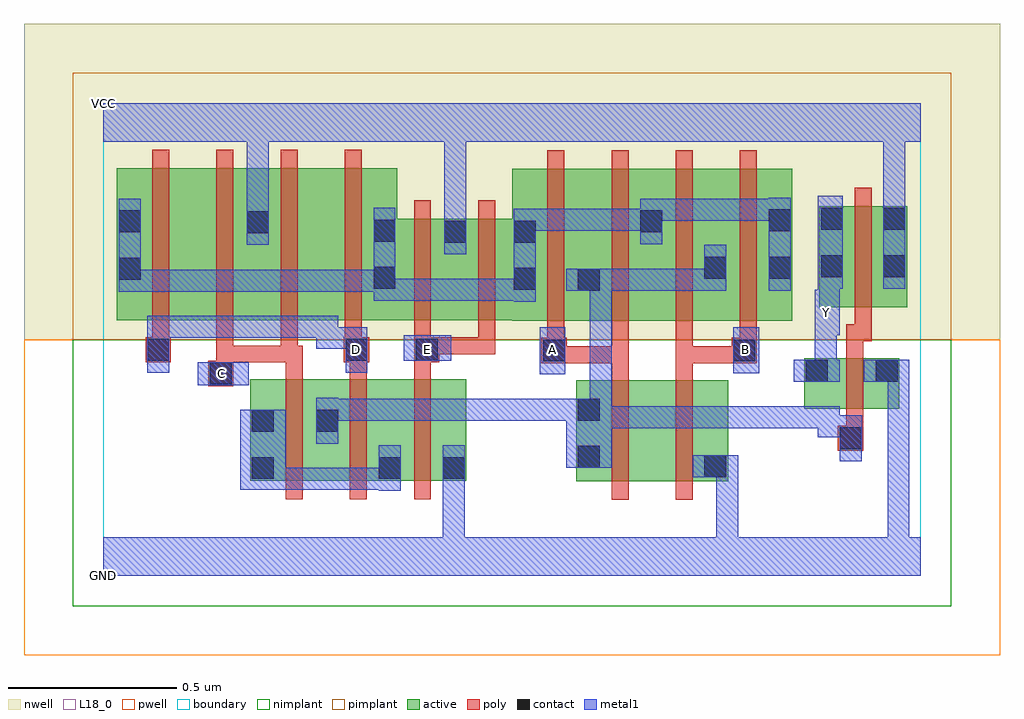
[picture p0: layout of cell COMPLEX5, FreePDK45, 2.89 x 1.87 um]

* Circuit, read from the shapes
.subckt COMPLEX5 A B C D E GND VCC Y
M1 n1 C n2 VSUBS nfet w=0.3u l=0.05u
M2 n2 D n1 VSUBS nfet w=0.3u l=0.05u
M3 GND E n2 VSUBS nfet w=0.3u l=0.05u
M4 n3 A n1 VSUBS nfet w=0.3u l=0.05u
M5 GND B n3 VSUBS nfet w=0.3u l=0.05u
M6 GND n1 Y VSUBS nfet w=0.15u l=0.05u
M7 n4 D n5 n6 pfet w=0.45u l=0.05u
M8 VCC C n4 n6 pfet w=0.45u l=0.05u
M9 n7 C VCC n6 pfet w=0.45u l=0.05u
M10 n5 D n7 n6 pfet w=0.45u l=0.05u
M11 VCC E n5 n6 pfet w=0.3u l=0.05u m=2
M12 n1 A n5 n6 pfet w=0.45u l=0.05u m=2
M13 n1 B n5 n6 pfet w=0.45u l=0.05u m=2
M14 VCC n1 Y n6 pfet w=0.3u l=0.05u
.ends

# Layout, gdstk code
import gdstk
lib = gdstk.Library(unit=1e-6, precision=1e-09)
def R(c, l, rs):  # rectangles x0, y0, x1, y1
    for r in rs: c.add(gdstk.rectangle(r[:2], r[2:], *l))
def A(c, l, x, y, w, h, nx, ny, dx, dy):  # array of equal rectangles
    R(c, l, [(x+i*dx, y+j*dy, x+i*dx+w, y+j*dy+h) for i in range(nx) for j in range(ny)])
active = (1, 0)
pwell = (2, 0)
nwell = (3, 0)
nimplant = (4, 0)
pimplant = (5, 0)
poly = (9, 0)
contact = (10, 0)
metal1 = (11, 0)
L18_0 = (18, 0)
boundary = (235, 0)

complex5 = lib.new_cell('COMPLEX5')
R(complex5, active, [(1.4,0.28,1.625,0.58), (1.625,0.28,1.85,0.58), (0.435,0.282,0.51,0.582), (0.435,0.282,0.7,0.582), (0.625,0.282,0.885,0.582), (0.81,0.282,1.075,0.582), (0.81,0.282,0.885,0.392), (1,0.282,1.075,0.582), (1.775,0.287,1.85,0.58), (1.4,0.315,1.475,0.58), (0.625,0.345,0.7,0.497), (2.075,0.495,2.15,0.645), (2.075,0.495,2.357,0.645), (2.282,0.495,2.357,0.645), (1.21,0.755,1.475,1.205), (1.4,0.755,1.475,1.07), (1.4,0.755,1.66,1.205), (1.585,0.755,1.66,1.2), (1.585,0.755,1.85,1.205), (1.775,0.755,2.04,1.205), (1.775,0.755,1.85,1.07), (1.965,0.755,2.04,1.2), (0.04,0.757,0.265,1.207), (0.04,0.757,0.145,1.2), (0.265,0.757,0.495,1.207), (0.42,0.757,0.645,1.207), (0.42,0.757,0.495,1.207), (0.645,0.757,0.87,1.207), (0.795,0.757,1.08,1.057), (0.795,0.757,0.87,1.2), (1.005,0.757,1.08,1.057), (1.005,0.757,1.285,1.057), (2.12,0.795,2.195,1.095), (2.12,0.795,2.38,1.095), (2.305,0.795,2.38,1.095), (1.21,0.842,1.285,1.2)])
R(complex5, pwell, [(-0.235,-0.235,2.655,0.7)])
R(complex5, nwell, [(-0.235,0.7,2.655,1.635)])
R(complex5, nimplant, [(-0.09,-0.09,2.51,0.7)])
R(complex5, pimplant, [(-0.09,0.7,2.51,1.49)])
A(complex5, poly, 0.54, 0.227, 0.05, 0.41, 3, 1, 0.19, 0)
A(complex5, poly, 0.54, 0.587, 0.05, 0.095, 3, 1, 0.19, 0)
A(complex5, poly, 1.315, 0.7, 0.05, 0.56, 4, 1, 0.19, 0)
A(complex5, poly, 0.145, 0.702, 0.05, 0.56, 4, 1, 0.19, 0)
R(complex5, poly, [(1.505,0.225,1.555,0.635), (1.695,0.225,1.745,0.635), (2.175,0.37,2.25,0.445), (2.2,0.395,2.25,0.49), (2.2,0.44,2.25,0.7), (0.31,0.562,0.385,0.637), (1.505,0.585,1.555,0.68), (1.695,0.585,1.745,0.68), (0.335,0.587,0.385,0.682), (1.297,0.63,1.372,0.705), (1.322,0.63,1.555,0.68), (1.505,0.63,1.555,0.68), (1.505,0.63,1.555,0.68), (1.505,0.63,1.555,0.68), (1.505,0.63,1.555,0.75), (1.695,0.63,1.745,0.68), (1.695,0.63,1.91,0.68), (1.695,0.63,1.745,0.75), (1.86,0.63,1.935,0.705), (1.86,0.63,1.91,0.68), (1.86,0.63,1.91,0.68), (0.125,0.632,0.2,0.707), (0.335,0.632,0.385,0.682), (0.335,0.632,0.385,0.682), (0.335,0.632,0.385,0.682), (0.335,0.632,0.385,0.752), (0.335,0.632,0.575,0.682), (0.525,0.632,0.575,0.682), (0.525,0.632,0.575,0.682), (0.525,0.632,0.575,0.752), (0.525,0.632,0.59,0.682), (0.712,0.632,0.787,0.707), (0.92,0.632,0.995,0.707), (2.2,0.65,2.25,0.745), (1.315,0.655,1.365,0.75), (1.885,0.655,1.935,0.75), (0.145,0.657,0.195,0.752), (0.715,0.657,0.765,0.752), (0.92,0.657,0.97,0.752), (0.945,0.657,1.16,0.707), (1.11,0.657,1.16,0.752), (1.11,0.657,1.16,0.707), (1.11,0.657,1.16,0.707), (1.11,0.657,1.16,0.707), (2.2,0.695,2.275,0.745), (2.225,0.695,2.275,0.79), (0.92,0.702,0.97,1.112), (1.11,0.702,1.16,1.112), (2.225,0.74,2.275,1.15)])
R(complex5, contact, [(0.44,0.287,0.505,0.352), (0.815,0.287,0.88,0.352), (1.005,0.287,1.07,0.352), (1.78,0.292,1.845,0.357), (1.405,0.32,1.47,0.385), (2.18,0.375,2.245,0.44), (0.44,0.427,0.505,0.492), (0.63,0.427,0.695,0.492), (1.405,0.46,1.47,0.525), (0.315,0.567,0.38,0.632), (2.08,0.575,2.145,0.64), (2.287,0.575,2.352,0.64), (1.302,0.635,1.367,0.7), (1.865,0.635,1.93,0.7), (0.13,0.637,0.195,0.702), (0.717,0.637,0.782,0.702), (0.925,0.637,0.99,0.702), (1.405,0.845,1.47,0.91), (1.215,0.847,1.28,0.912), (0.8,0.85,0.865,0.915), (0.045,0.877,0.11,0.942), (1.78,0.88,1.845,0.945), (1.97,0.88,2.035,0.945), (2.125,0.885,2.19,0.95), (2.31,0.885,2.375,0.95), (1.01,0.987,1.075,1.052), (1.215,0.987,1.28,1.052), (0.8,0.99,0.865,1.055), (0.425,1.015,0.49,1.08), (0.045,1.017,0.11,1.082), (1.59,1.017,1.655,1.082), (1.97,1.02,2.035,1.085), (2.125,1.025,2.19,1.09), (2.31,1.025,2.375,1.09)])
R(complex5, metal1, [(0,0,2.42,0.115), (1.005,0.05,1.07,0.115), (1.005,0.05,1.07,0.115), (1.005,0.05,1.07,0.115), (1.005,0.05,1.07,0.115), (1.005,0.05,1.07,0.317), (1.815,0.05,1.88,0.115), (1.815,0.05,1.88,0.115), (1.815,0.05,1.88,0.115), (1.815,0.05,1.88,0.115), (1.815,0.05,1.88,0.357), (2.322,0.05,2.387,0.115), (2.322,0.05,2.387,0.115), (2.322,0.05,2.387,0.64), (0.815,0.252,0.88,0.387), (1.005,0.252,1.07,0.387), (0.405,0.255,0.54,0.492), (0.475,0.255,0.54,0.32), (0.475,0.255,0.54,0.32), (0.475,0.255,0.727,0.32), (0.662,0.255,0.727,0.32), (0.662,0.255,0.727,0.32), (0.662,0.255,0.727,0.32), (0.662,0.255,0.88,0.32), (1.745,0.292,1.88,0.357), (1.37,0.32,1.505,0.525), (2.18,0.34,2.245,0.475), (0.63,0.392,0.695,0.527), (2.115,0.41,2.18,0.475), (2.115,0.41,2.245,0.475), (2.115,0.41,2.18,0.502), (1.44,0.437,1.505,0.502), (1.44,0.437,1.505,0.502), (1.44,0.437,1.672,0.502), (1.607,0.437,1.672,0.502), (1.607,0.437,1.672,0.502), (1.607,0.437,1.672,0.502), (1.607,0.437,1.835,0.502), (1.77,0.437,1.835,0.502), (1.77,0.437,1.835,0.502), (1.77,0.437,1.835,0.502), (1.77,0.437,1.972,0.502), (1.907,0.437,1.972,0.502), (1.907,0.437,1.972,0.502), (1.907,0.437,1.972,0.502), (1.907,0.437,2.18,0.502), (2.115,0.437,2.18,0.502), (0.63,0.46,0.775,0.525), (0.71,0.46,0.775,0.525), (0.71,0.46,0.932,0.525), (0.867,0.46,0.932,0.525), (0.867,0.46,0.932,0.525), (0.867,0.46,0.932,0.525), (0.867,0.46,1.142,0.525), (1.077,0.46,1.142,0.525), (1.077,0.46,1.142,0.525), (1.077,0.46,1.142,0.525), (1.077,0.46,1.28,0.525), (1.215,0.46,1.28,0.525), (1.215,0.46,1.28,0.525), (1.215,0.46,1.28,0.525), (1.215,0.46,1.435,0.525), (1.44,0.46,1.505,0.525), (1.44,0.46,1.505,0.525), (1.44,0.46,1.505,0.91), (0.28,0.565,0.43,0.632), (2.045,0.575,2.18,0.64), (2.107,0.575,2.172,0.777), (2.252,0.575,2.387,0.64), (2.322,0.575,2.387,0.64), (2.322,0.575,2.387,0.64), (2.322,0.575,2.387,0.64), (2.322,0.575,2.387,0.64), (1.292,0.597,1.367,0.737), (1.865,0.6,1.942,0.737), (0.13,0.602,0.195,0.77), (0.717,0.602,0.782,0.737), (0.89,0.637,1.03,0.712), (0.63,0.672,0.782,0.737), (0.63,0.672,0.695,0.77), (0.13,0.705,0.332,0.77), (0.267,0.705,0.332,0.77), (0.267,0.705,0.332,0.77), (0.267,0.705,0.335,0.77), (0.27,0.705,0.557,0.77), (0.492,0.705,0.557,0.77), (0.492,0.705,0.557,0.77), (0.492,0.705,0.557,0.77), (0.492,0.705,0.695,0.77), (2.107,0.712,2.18,0.847), (2.115,0.782,2.18,0.915), (1.215,0.812,1.28,1.087), (0.8,0.815,0.865,1.09), (0.8,0.815,0.912,0.88), (0.847,0.815,0.912,0.88), (0.847,0.815,1.142,0.88), (1.077,0.815,1.142,0.88), (1.077,0.815,1.142,0.88), (1.077,0.815,1.142,0.88), (1.077,0.815,1.28,0.88), (0.045,0.842,0.11,0.907), (0.045,0.842,0.11,0.907), (0.045,0.842,0.11,1.117), (0.045,0.842,0.332,0.907), (0.267,0.842,0.332,0.907), (0.267,0.842,0.332,0.907), (0.267,0.842,0.335,0.907), (0.27,0.842,0.557,0.907), (0.492,0.842,0.557,0.907), (0.492,0.842,0.557,0.907), (0.492,0.842,0.557,0.907), (0.492,0.842,0.695,0.907), (0.63,0.842,0.695,0.907), (0.63,0.842,0.695,0.907), (0.63,0.842,0.695,0.907), (0.63,0.842,0.865,0.907), (1.37,0.845,1.505,0.91), (1.44,0.845,1.505,0.91), (1.44,0.845,1.505,0.91), (1.44,0.845,1.642,0.91), (1.577,0.845,1.642,0.91), (1.577,0.845,1.642,0.91), (1.577,0.845,1.642,0.91), (1.577,0.845,1.845,0.91), (1.78,0.845,1.845,0.98), (1.97,0.845,2.035,1.12), (2.115,0.85,2.19,1.125), (2.31,0.85,2.375,1.125), (1.01,0.952,1.075,1.087), (0.425,0.98,0.49,1.115), (1.59,0.982,1.655,1.117), (1.01,1.022,1.075,1.35), (1.215,1.022,1.28,1.087), (1.215,1.022,1.28,1.087), (1.215,1.022,1.28,1.087), (1.215,1.022,1.28,1.087), (1.215,1.022,1.505,1.087), (1.44,1.022,1.505,1.087), (1.44,1.022,1.505,1.087), (1.44,1.022,1.505,1.087), (1.44,1.022,1.655,1.087), (0.425,1.05,0.49,1.35), (1.59,1.052,1.655,1.117), (1.59,1.052,1.655,1.117), (1.59,1.052,1.835,1.117), (1.77,1.052,1.835,1.117), (1.77,1.052,1.835,1.117), (1.77,1.052,1.835,1.117), (1.77,1.052,2.035,1.117), (2.31,1.06,2.375,1.125), (2.31,1.06,2.375,1.125), (2.31,1.06,2.375,1.35), (0,1.285,2.42,1.4), (1.01,1.285,1.075,1.35), (1.01,1.285,1.075,1.35)])
R(complex5, L18_0, [(0,0,2.42,0.115), (1.005,0.05,1.07,0.115), (1.005,0.05,1.07,0.115), (1.005,0.05,1.07,0.115), (1.005,0.05,1.07,0.115), (1.005,0.05,1.07,0.317), (1.815,0.05,1.88,0.115), (1.815,0.05,1.88,0.115), (1.815,0.05,1.88,0.115), (1.815,0.05,1.88,0.115), (1.815,0.05,1.88,0.357), (2.322,0.05,2.387,0.115), (2.322,0.05,2.387,0.115), (2.322,0.05,2.387,0.64), (1.005,0.252,1.07,0.387), (1.745,0.292,1.88,0.357), (0.28,0.565,0.43,0.632), (0.317,0.567,0.382,0.632), (2.045,0.575,2.18,0.64), (2.107,0.575,2.172,0.777), (2.252,0.575,2.387,0.64), (2.322,0.575,2.387,0.64), (2.322,0.575,2.387,0.64), (2.322,0.575,2.387,0.64), (2.322,0.575,2.387,0.64), (1.292,0.597,1.367,0.737), (1.865,0.6,1.942,0.737), (0.13,0.602,0.195,0.77), (0.717,0.602,0.782,0.737), (0.717,0.637,0.782,0.702), (0.89,0.637,1.03,0.712), (0.927,0.637,0.992,0.702), (1.297,0.637,1.362,0.702), (1.867,0.637,1.932,0.702), (0.63,0.672,0.695,0.77), (0.63,0.672,0.782,0.737), (0.13,0.705,0.332,0.77), (0.267,0.705,0.332,0.77), (0.267,0.705,0.332,0.77), (0.267,0.705,0.335,0.77), (0.27,0.705,0.557,0.77), (0.492,0.705,0.557,0.77), (0.492,0.705,0.557,0.77), (0.492,0.705,0.557,0.77), (0.492,0.705,0.695,0.77), (2.107,0.712,2.18,0.847), (2.107,0.747,2.172,0.812), (2.115,0.782,2.18,0.915), (2.115,0.85,2.19,1.125), (2.31,0.85,2.375,1.125), (1.01,0.952,1.075,1.087), (0.425,0.98,0.49,1.115), (1.01,1.022,1.075,1.35), (0.425,1.05,0.49,1.35), (2.31,1.06,2.375,1.125), (2.31,1.06,2.375,1.125), (2.31,1.06,2.375,1.35), (0,1.285,2.42,1.4), (1.01,1.285,1.075,1.35), (1.01,1.285,1.075,1.35)])
R(complex5, boundary, [(0,0,2.42,1.4)])
complex5.add(gdstk.Label('A', (1.33,0.67), layer=11, texttype=0))
complex5.add(gdstk.Label('B', (1.9,0.67), layer=11, texttype=0))
complex5.add(gdstk.Label('C', (0.35,0.6), layer=11, texttype=0))
complex5.add(gdstk.Label('D', (0.75,0.67), layer=11, texttype=0))
complex5.add(gdstk.Label('E', (0.96,0.67), layer=11, texttype=0))
complex5.add(gdstk.Label('Y', (2.14,0.78), layer=11, texttype=0))
complex5.add(gdstk.Label('VCC', (0,1.4), layer=11, texttype=0))
complex5.add(gdstk.Label('GND', (0,0), layer=11, texttype=0))

lib.write_gds('COMPLEX5.gds')
